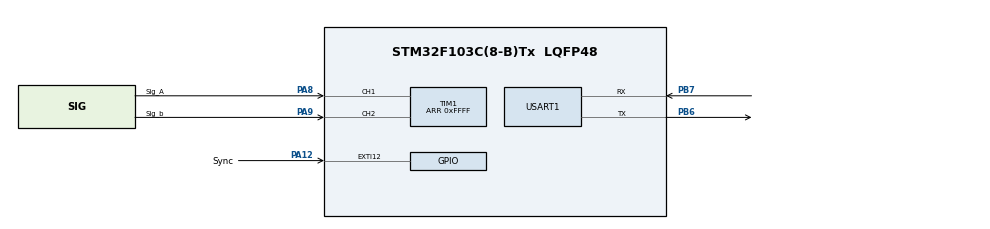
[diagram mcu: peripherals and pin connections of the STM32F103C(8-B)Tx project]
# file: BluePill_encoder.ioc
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Mcu.Family=STM32F1
Mcu.Name=STM32F103C(8-B)Tx
Mcu.Package=LQFP48
NVIC.EXTI15_10_IRQn=true\:0\:0\:false\:false\:true\:true\:true
NVIC.PriorityGroup=NVIC_PRIORITYGROUP_4
NVIC.TIM1_UP_IRQn=true\:0\:0\:false\:false\:true\:true\:true
PA12.GPIO_Label=Sync
PA12.GPIO_ModeDefaultEXTI=GPIO_MODE_IT_RISING_FALLING
PA12.Signal=GPXTI12
PA8.GPIO_Label=Sig_A
PA8.Signal=S_TIM1_CH1
PA9.GPIO_Label=Sig_b
PA9.Signal=S_TIM1_CH2
PB6.Mode=Asynchronous
PB6.Signal=USART1_TX
PB7.Mode=Asynchronous
PB7.Signal=USART1_RX
ProjectManager.HeapSize=0x200
ProjectManager.StackSize=0x400
ProjectManager.TargetToolchain=SW4STM32
RCC.APB1Freq_Value=8000000
RCC.APB2Freq_Value=8000000
SH.S_TIM1_CH1.0=TIM1_CH1,Encoder_Interface
SH.S_TIM1_CH2.0=TIM1_CH2,Encoder_Interface
TIM1.EncoderMode=TIM_ENCODERMODE_TI12
TIM1.Period=0xFFFF
USART1.VirtualMode=VM_ASYNC
VP_SYS_VS_ND.Mode=No_Debug
board=custom

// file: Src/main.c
/* USER CODE BEGIN Header */
/**
  ******************************************************************************
  * @file           : main.c
  * @brief          : Main program body
  ******************************************************************************
  * @attention
  *
  * <h2><center>&copy; Copyright (c) 2021 STMicroelectronics.
  * All rights reserved.</center></h2>
  *
  * This software component is licensed by ST under BSD 3-Clause license,
  * the "License"; You may not use this file except in compliance with the
  * License. You may obtain a copy of the License at:
  *                        opensource.org/licenses/BSD-3-Clause
  *
  ******************************************************************************
  */
/* USER CODE END Header */

#include "main.h"

TIM_HandleTypeDef htim1;

UART_HandleTypeDef huart1;

/* USER CODE BEGIN PV */

volatile uint16_t AencH=32768; Aenc=0;
volatile uint16_t currTick=0;
char buffer[12];

/* USER CODE END PV */

void SystemClock_Config(void);
static void MX_GPIO_Init(void);
static void MX_TIM1_Init(void);
static void MX_USART1_UART_Init(void);
/* USER CODE BEGIN PFP */
char* num_to_str16(uint16_t n, char *buffer);

/* USER CODE END PFP */

/* USER CODE BEGIN 0 */
char* num_to_str16(uint16_t n, char *buffer) // offset 1023
{
	char sign=" ";

	if (n>1023){
		n=n-1023;
		sign="-";
	}

    uint8_t d4, d3, d2, d1, q, d0;

        d1 = (n>>4)  & 0xF;
        d2 = (n>>8)  & 0xF;
        d3 = (n>>12) & 0xF;

        d0 = 6*(d3 + d2 + d1) + (n & 0xF);
        q = (d0 * 0xCD) >> 11;
        d0 = d0 - 10*q;

        d1 = q + 9*d3 + 5*d2 + d1;
        q = (d1 * 0xCD) >> 11;
        d1 = d1 - 10*q;

        d2 = q + 2*d2;
        q = (d2 * 0x1A) >> 8;
        d2 = d2 - 10*q;

        d3 = q + 4*d3;
        d4 = (d3 * 0x1A) >> 8;
        d3 = d3 - 10*d4;

        char *ptr = buffer;
    *ptr++ =  '0' // for sign
    *ptr++ = ( d4 + '0' );
    *ptr++ = ( d3 + '0' );
    *ptr++ = ( d2 + '0' );
    *ptr++ = ( d1 + '0' );
    *ptr++ = ( d0 + '0' );
    *ptr++ = '\r';
    *ptr++ = '\n';
    *ptr = 0;
uint8_t cco=0;
        while(buffer[cco] == '0') { // remove trailing zero
        	buffer[cco]=' ';
        cco++;}
        cco--;
        buffer [cco] =  sign;
        return buffer;
}

/* USER CODE END 0 */

int main(void)
{

  /* MCU Configuration--------------------------------------------------------*/

  /* Reset of all peripherals, Initializes the Flash interface and the Systick. */
  HAL_Init();

  /* Configure the system clock */
  SystemClock_Config();

  /* Initialize all configured peripherals */
  MX_GPIO_Init();
  MX_TIM1_Init();
  MX_USART1_UART_Init();

  /* Infinite loop */
  /* USER CODE BEGIN WHILE */
  while (1)
  {
	  while (currTick>HAL_GetTick()){} // wait 100 ms

	  currTick=HAL_GetTick()+100;
	  Aenc=TIM1->CNT;
	  buffer = num_to_str16(Aenc, buffer);
	  HAL_UART_Transmit(&huart1, buffer, 9, 50);
    /* USER CODE END WHILE */

  }
}

void SystemClock_Config(void)
{
  RCC_OscInitTypeDef RCC_OscInitStruct = {0};
  RCC_ClkInitTypeDef RCC_ClkInitStruct = {0};

  /** Initializes the CPU, AHB and APB busses clocks
  */
  RCC_OscInitStruct.OscillatorType = RCC_OSCILLATORTYPE_HSI;
  RCC_OscInitStruct.HSIState = RCC_HSI_ON;
  RCC_OscInitStruct.HSICalibrationValue = RCC_HSICALIBRATION_DEFAULT;
  RCC_OscInitStruct.PLL.PLLState = RCC_PLL_NONE;
  if (HAL_RCC_OscConfig(&RCC_OscInitStruct) != HAL_OK)
  {
    Error_Handler();
  }
  /** Initializes the CPU, AHB and APB busses clocks
  */
  RCC_ClkInitStruct.ClockType = RCC_CLOCKTYPE_HCLK|RCC_CLOCKTYPE_SYSCLK
                              |RCC_CLOCKTYPE_PCLK1|RCC_CLOCKTYPE_PCLK2;
  RCC_ClkInitStruct.SYSCLKSource = RCC_SYSCLKSOURCE_HSI;
  RCC_ClkInitStruct.AHBCLKDivider = RCC_SYSCLK_DIV1;
  RCC_ClkInitStruct.APB1CLKDivider = RCC_HCLK_DIV1;
  RCC_ClkInitStruct.APB2CLKDivider = RCC_HCLK_DIV1;

  if (HAL_RCC_ClockConfig(&RCC_ClkInitStruct, FLASH_LATENCY_0) != HAL_OK)
  {
    Error_Handler();
  }
}

static void MX_TIM1_Init(void)
{

  TIM_Encoder_InitTypeDef sConfig = {0};
  TIM_MasterConfigTypeDef sMasterConfig = {0};

  htim1.Instance = TIM1;
  htim1.Init.Prescaler = 0;
  htim1.Init.CounterMode = TIM_COUNTERMODE_UP;
  htim1.Init.Period = 2047;
  htim1.Init.ClockDivision = TIM_CLOCKDIVISION_DIV1;
  htim1.Init.RepetitionCounter = 0;
  htim1.Init.AutoReloadPreload = TIM_AUTORELOAD_PRELOAD_DISABLE;
  sConfig.EncoderMode = TIM_ENCODERMODE_TI12;
  sConfig.IC1Polarity = TIM_ICPOLARITY_RISING;
  sConfig.IC1Selection = TIM_ICSELECTION_DIRECTTI;
  sConfig.IC1Prescaler = TIM_ICPSC_DIV1;
  sConfig.IC1Filter = 0;
  sConfig.IC2Polarity = TIM_ICPOLARITY_RISING;
  sConfig.IC2Selection = TIM_ICSELECTION_DIRECTTI;
  sConfig.IC2Prescaler = TIM_ICPSC_DIV1;
  sConfig.IC2Filter = 0;
  if (HAL_TIM_Encoder_Init(&htim1, &sConfig) != HAL_OK)
  {
    Error_Handler();
  }
  sMasterConfig.MasterOutputTrigger = TIM_TRGO_RESET;
  sMasterConfig.MasterSlaveMode = TIM_MASTERSLAVEMODE_DISABLE;
  if (HAL_TIMEx_MasterConfigSynchronization(&htim1, &sMasterConfig) != HAL_OK)
  {
    Error_Handler();
  }

}

static void MX_USART1_UART_Init(void)
{

  huart1.Instance = USART1;
  huart1.Init.BaudRate = 115200;
  huart1.Init.WordLength = UART_WORDLENGTH_8B;
  huart1.Init.StopBits = UART_STOPBITS_1;
  huart1.Init.Parity = UART_PARITY_NONE;
  huart1.Init.Mode = UART_MODE_TX_RX;
  huart1.Init.HwFlowCtl = UART_HWCONTROL_NONE;
  huart1.Init.OverSampling = UART_OVERSAMPLING_16;
  if (HAL_UART_Init(&huart1) != HAL_OK)
  {
    Error_Handler();
  }

}

static void MX_GPIO_Init(void)
{
  GPIO_InitTypeDef GPIO_InitStruct = {0};

  /* GPIO Ports Clock Enable */
  __HAL_RCC_GPIOA_CLK_ENABLE();
  __HAL_RCC_GPIOB_CLK_ENABLE();

  /*Configure GPIO pin : Sync_Pin */
  GPIO_InitStruct.Pin = Sync_Pin;
  GPIO_InitStruct.Mode = GPIO_MODE_IT_RISING_FALLING;
  GPIO_InitStruct.Pull = GPIO_NOPULL;
  HAL_GPIO_Init(Sync_GPIO_Port, &GPIO_InitStruct);

  /* EXTI interrupt init*/
  HAL_NVIC_SetPriority(EXTI15_10_IRQn, 0, 0);
  HAL_NVIC_EnableIRQ(EXTI15_10_IRQn);

}

void Error_Handler(void)
{
}

/************************ (C) COPYRIGHT STMicroelectronics *****END OF FILE****/
